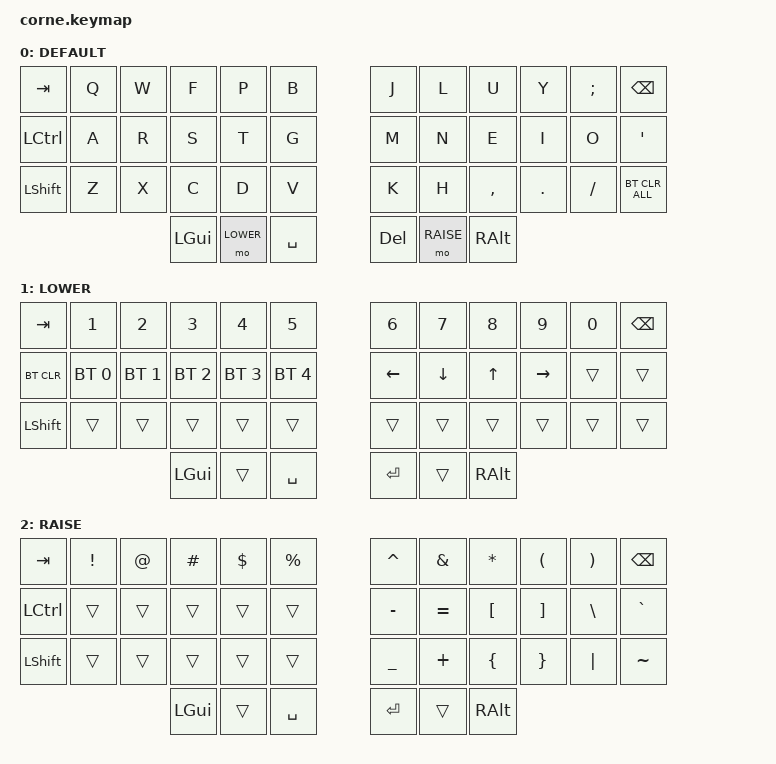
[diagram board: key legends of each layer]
/*
 * Copyright (c) 2020 The ZMK Contributors
 *
 * SPDX-License-Identifier: MIT
 */

#include <behaviors.dtsi>
#include <dt-bindings/zmk/bt.h>
#include <dt-bindings/zmk/keys.h>
#include <dt-bindings/zmk/mouse.h>

#define DEFAULT 0
#define LOWER   1
#define RAISE   2

/ {
    keymap {
        compatible = "zmk,keymap";

        DEFAULT {
            // -----------------------------------------------------------------------------------------
            // |  TAB |  Q  |  W  |  E  |  R  |  T  |   |  Y  |  U   |  I  |  O  |  P  | BKSP |
            // | CTRL |  A  |  S  |  D  |  F  |  G  |   |  H  |  J   |  K  |  L  |  ;  |  '   |
            // | SHFT |  Z  |  X  |  C  |  V  |  B  |   |  N  |  M   |  ,  |  .  |  /  | ESC  |
            //                    | GUI | LWR | SPC |   | ENT | RSE  | ALT |

            bindings = <
&kp TAB    &kp Q  &kp W  &kp F     &kp P       &kp B        &kp J       &kp L       &kp U      &kp Y       &kp SEMICOLON  &kp BSPC
&kp LCTRL  &kp A  &kp R  &kp S     &kp T       &kp G        &kp M       &kp N       &kp E      &kp I       &kp O          &kp SQT
&kp LSHFT  &kp Z  &kp X  &kp C     &kp D       &kp V        &kp K       &kp H       &kp COMMA  &kp PERIOD  &kp SLASH      &bt BT_CLR_ALL
                         &kp LGUI  &mo LOWER   &kp SPACE    &kp DELETE  &mo RAISE   &kp RALT
            >;
        };

        LOWER {
            // -----------------------------------------------------------------------------------------
            // |  TAB |  1  |  2  |  3  |  4  |  5  |   |  6  |  7  |  8  |  9  |  0  | BKSP |
            // | BTCLR| BT1 | BT2 | BT3 | BT4 | BT5 |   | LFT | DWN |  UP | RGT |     |      |
            // | SHFT |     |     |     |     |     |   |     |     |     |     |     |      |
            //                    | GUI |     | SPC |   | ENT |     | ALT |

            bindings = <
&kp TAB     &kp N1        &kp N2        &kp N3        &kp N4        &kp N5          &kp N6    &kp N7    &kp N8    &kp N9     &kp N0  &kp BSPC
&bt BT_CLR  &bt BT_SEL 0  &bt BT_SEL 1  &bt BT_SEL 2  &bt BT_SEL 3  &bt BT_SEL 4    &kp LEFT  &kp DOWN  &kp UP    &kp RIGHT  &trans  &trans
&kp LSHFT   &trans        &trans        &trans        &trans        &trans          &trans    &trans    &trans    &trans     &trans  &trans
                                        &kp LGUI      &trans        &kp SPACE       &kp RET   &trans    &kp RALT
            >;
        };

        RAISE {
            // -----------------------------------------------------------------------------------------
            // |  TAB |  !  |  @  |  #  |  $  |  %  |   |  ^  |  &  |  *  |  (  |  )  | BKSP |
            // | CTRL |     |     |     |     |     |   |  -  |  =  |  [  |  ]  |  \  |  `   |
            // | SHFT |     |     |     |     |     |   |  _  |  +  |  {  |  }  | "|" |  ~   |
            //                    | GUI |     | SPC |   | ENT |     | ALT |

            bindings = <
&kp TAB    &kp EXCL  &kp AT  &kp HASH  &kp DLLR  &kp PRCNT    &kp CARET  &kp AMPS   &kp ASTRK  &kp LPAR  &kp RPAR  &kp BSPC
&kp LCTRL  &trans    &trans  &trans    &trans    &trans       &kp MINUS  &kp EQUAL  &kp LBKT   &kp RBKT  &kp BSLH  &kp GRAVE
&kp LSHFT  &trans    &trans  &trans    &trans    &trans       &kp UNDER  &kp PLUS   &kp LBRC   &kp RBRC  &kp PIPE  &kp TILDE
                             &kp LGUI  &trans    &kp SPACE    &kp RET    &trans     &kp RALT
            >;
        };
    };
};
